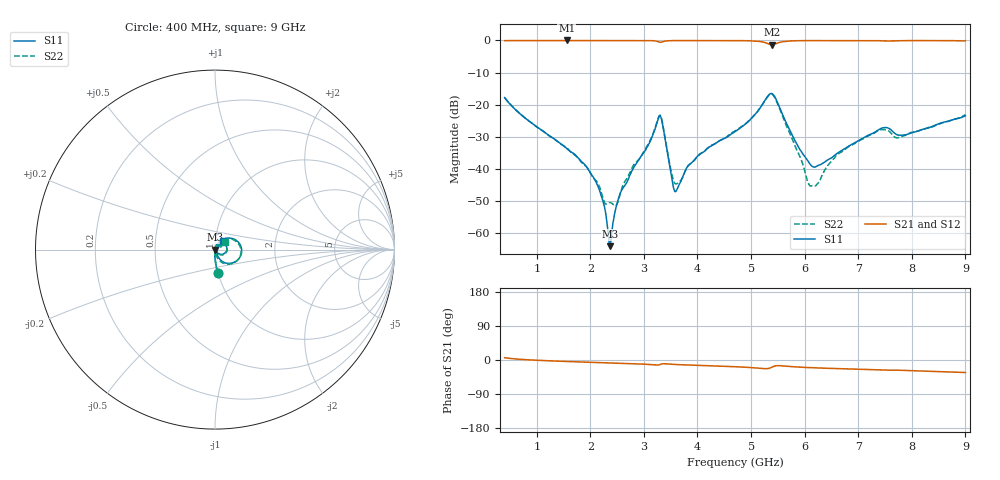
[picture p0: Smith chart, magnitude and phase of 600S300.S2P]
!  American Technical Ceramics  Date:  12/2/2005
!  One Norden Lane
!  Huntington Station,  NY.  11746-2102
!  Tel:  (631) 622-4700  Fax:  (631) 622-4748
!  Part Number  600S300  Mounting Orientation: Horizontal
!  Description: Ultra Low ESR Microwave capacitors
!  Application: Coupling, Bypass, Tuning, DC Block
!  Filters, Matching
# GHZ S DB R 50
! Freq  |S11|  S11 Ph  |S21|  S21 Ph  |S12|  S12 Ph  |S22|  S22 Ph
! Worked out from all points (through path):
!   801 points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, 400 MHz to 9 GHz, reference 50 ohm
!   highest |S21| = -0.01 dB at 1.561 GHz (marker M1); lowest = -1.4 dB at 5.388 GHz (marker M2)
!   group delay of S21, straight-line fit = 10.7 ps
!   lowest |S11| = -64.1 dB at 2.367 GHz (marker M3), VSWR 1.00, Z = 49.9 + j0.0149 ohm
!   |S11| at or under -10 dB: start of sweep to end of sweep
!   |S22| runs from -51.5 to -16.7 dB; largest |S21 - S12| = 0.0026
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0.4  -17.81 -83.3  -0.08 6.1  -0.09 6.1  -17.81 -83.5
1.561  -33.70 -94.4  -0.01 -3.9  -0.02 -4.0  -33.39 -91.2
1.841  -37.80 -95.8  -0.01 -5.3  -0.02 -5.3  -38.08 -90.2
2.142  -45.36 -104.3  -0.01 -6.8  -0.02 -6.8  -44.45 -77.0
2.271  -52.36 -101.8  -0.01 -7.3  -0.02 -7.3  -50.62 -58.8
2.367  -64.06 166.2  -0.02 -7.8  -0.03 -7.8  -50.43 -19.9
2.475  -52.30 77.7  -0.02 -8.3  -0.03 -8.3  -51.41 21.6
2.561  -47.43 81.2  -0.02 -8.6  -0.03 -8.6  -47.54 44.9
3.088  -32.41 70.1  -0.05 -11.6  -0.06 -11.6  -32.05 63.0
3.27  -24.25 30.9  -0.42 -13.1  -0.43 -13.2  -24.02 25.7
3.346  -25.89 -29.7  -0.43 -9.9  -0.44 -10.0  -25.57 -33.4
3.507  -41.51 -46.4  -0.07 -11.3  -0.08 -11.3  -40.59 -46.6
3.593  -47.07 9.5  -0.05 -12.0  -0.06 -12.0  -44.65 0.9
4.001  -36.04 68.3  -0.02 -14.2  -0.04 -14.2  -35.99 64.7
4.7  -28.42 62.8  -0.06 -17.7  -0.07 -17.7  -28.23 62.9
5.388  -16.56 -9.5  -1.36 -19.0  -1.37 -19.0  -16.74 -13.5
6.065  -37.67 -36.1  -0.06 -19.9  -0.07 -19.9  -44.37 -50.1
6.141  -39.19 -22.4  -0.05 -20.4  -0.07 -20.4  -45.16 -18.7
6.624  -34.97 35.5  -0.04 -22.8  -0.06 -22.8  -35.38 56.3
7.57  -27.37 28.2  -0.18 -26.7  -0.20 -26.7  -28.19 28.7
7.871  -29.43 38.4  -0.07 -27.5  -0.09 -27.4  -29.59 43.6
9  -23.44 48.2  -0.14 -33.0  -0.16 -32.9  -23.17 39.5
